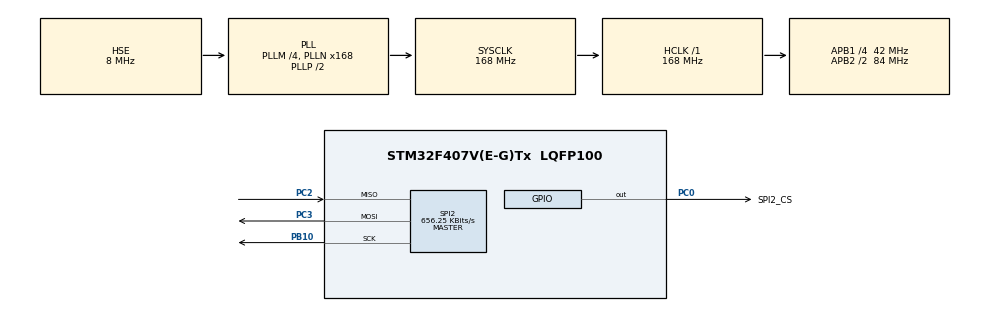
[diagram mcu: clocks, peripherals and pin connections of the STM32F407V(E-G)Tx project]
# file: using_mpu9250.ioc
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Mcu.Family=STM32F4
Mcu.Name=STM32F407V(E-G)Tx
Mcu.Package=LQFP100
NVIC.PriorityGroup=NVIC_PRIORITYGROUP_0
NVIC.TIM1_BRK_TIM9_IRQn=true\:0\:0\:false\:false\:true\:true\:true\:true
PA13.Mode=Serial_Wire
PA13.Signal=SYS_JTMS-SWDIO
PA14.Mode=Serial_Wire
PA14.Signal=SYS_JTCK-SWCLK
PB10.Mode=Full_Duplex_Master
PB10.Signal=SPI2_SCK
PB3.Signal=SYS_JTDO-SWO
PC0.GPIO_Label=SPI2_CS
PC0.PinState=GPIO_PIN_SET
PC0.Signal=GPIO_Output
PC2.Mode=Full_Duplex_Master
PC2.Signal=SPI2_MISO
PC3.Mode=Full_Duplex_Master
PC3.Signal=SPI2_MOSI
PH0-OSC_IN.Mode=HSE-External-Oscillator
PH0-OSC_IN.Signal=RCC_OSC_IN
PH1-OSC_OUT.Mode=HSE-External-Oscillator
PH1-OSC_OUT.Signal=RCC_OSC_OUT
ProjectManager.HeapSize=0x200
ProjectManager.StackSize=0x400
ProjectManager.TargetToolchain=STM32CubeIDE
RCC.48MHZClocksFreq_Value=48000000
RCC.AHBFreq_Value=168000000
RCC.APB1CLKDivider=RCC_HCLK_DIV4
RCC.APB1Freq_Value=42000000
RCC.APB1TimFreq_Value=84000000
RCC.APB2CLKDivider=RCC_HCLK_DIV2
RCC.APB2Freq_Value=84000000
RCC.APB2TimFreq_Value=168000000
RCC.CortexFreq_Value=168000000
RCC.HCLKFreq_Value=168000000
RCC.HSE_VALUE=8000000
RCC.HSI_VALUE=16000000
RCC.LSE_VALUE=32768
RCC.PLLM=4
RCC.PLLN=168
RCC.PLLQ=7
RCC.PLLSourceVirtual=RCC_PLLSOURCE_HSE
RCC.SYSCLKFreq_VALUE=168000000
RCC.SYSCLKSource=RCC_SYSCLKSOURCE_PLLCLK
RCC.VCOOutputFreq_Value=336000000
SPI2.BaudRatePrescaler=SPI_BAUDRATEPRESCALER_64
SPI2.CLKPhase=SPI_PHASE_2EDGE
SPI2.CLKPolarity=SPI_POLARITY_HIGH
SPI2.CalculateBaudRate=656.25 KBits/s
SPI2.Direction=SPI_DIRECTION_2LINES
SPI2.Mode=SPI_MODE_MASTER
SPI2.VirtualType=VM_MASTER
STMicroelectronics.X-CUBE-ALGOBUILD.1.3.0.LibraryCcDSPOoLibraryJjDSPOoLibrary=true
VP_STMicroelectronics.X-CUBE-ALGOBUILD_VS_DSPOoLibraryJjLibrary_1.3.0_1.3.0.Mode=DSPOoLibraryJjLibrary
VP_TIM9_VS_ClockSourceINT.Mode=Internal
board=STM32F407G-DISC1

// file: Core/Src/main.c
/* USER CODE BEGIN Header */
/**
  ******************************************************************************
  * @file           : main.c
  * @brief          : Main program body
  ******************************************************************************
  * @attention
  *
  * Copyright (c) 2024 STMicroelectronics.
  * All rights reserved.
  *
  * This software is licensed under terms that can be found in the LICENSE file
  * in the root directory of this software component.
  * If no LICENSE file comes with this software, it is provided AS-IS.
  *
  ******************************************************************************
  */
/* USER CODE END Header */
#include "main.h"
#include "spi.h"
#include "tim.h"
#include "gpio.h"

/* USER CODE BEGIN Includes */
#include "MPU9250.h"
#include "stdio.h"
#include "arm_math.h"
/* USER CODE END Includes */

void SystemClock_Config(void);
/* USER CODE BEGIN PFP */
void mpu_callback(void);
/* USER CODE END PFP */

/* USER CODE BEGIN 0 */
MPU9250_t mpu={0};
float roll = 0; float pitch = 0; float yaw = 0;
int mpu_flag=0;
/* USER CODE END 0 */

int main(void)
{
  /* USER CODE BEGIN 1 */
	mpu.settings.gFullScaleRange = GFSR_500DPS;
	mpu.settings.aFullScaleRange = AFSR_4G;
	mpu.settings.CS_PIN = GPIO_PIN_0;
	mpu.settings.CS_PORT = GPIOC;
	mpu.attitude.tau = 0.98;
	mpu.attitude.dt = 0.010;
  /* USER CODE END 1 */

  /* MCU Configuration--------------------------------------------------------*/

  /* Reset of all peripherals, Initializes the Flash interface and the Systick. */
  HAL_Init();

  /* Configure the system clock */
  SystemClock_Config();

  /* Initialize all configured peripherals */
  MX_GPIO_Init();
  MX_SPI2_Init();
  MX_TIM9_Init();
  /* USER CODE BEGIN 2 */
  if(MPU_begin(&hspi2, &mpu) != 1) { while(1); }
  MPU_calibrateGyro(&hspi2, &mpu, 1000);
  /* USER CODE END 2 */

  /* Infinite loop */
  /* USER CODE BEGIN WHILE */
  while (1)
  {
	 if(mpu_flag) { mpu_callback(); mpu_flag=0; }
	  //HAL_Delay(10);
    /* USER CODE END WHILE */

  }
}

void SystemClock_Config(void)
{
  RCC_OscInitTypeDef RCC_OscInitStruct = {0};
  RCC_ClkInitTypeDef RCC_ClkInitStruct = {0};

  /** Configure the main internal regulator output voltage
  */
  __HAL_RCC_PWR_CLK_ENABLE();
  __HAL_PWR_VOLTAGESCALING_CONFIG(PWR_REGULATOR_VOLTAGE_SCALE1);

  /** Initializes the RCC Oscillators according to the specified parameters
  * in the RCC_OscInitTypeDef structure.
  */
  RCC_OscInitStruct.OscillatorType = RCC_OSCILLATORTYPE_HSE;
  RCC_OscInitStruct.HSEState = RCC_HSE_ON;
  RCC_OscInitStruct.PLL.PLLState = RCC_PLL_ON;
  RCC_OscInitStruct.PLL.PLLSource = RCC_PLLSOURCE_HSE;
  RCC_OscInitStruct.PLL.PLLM = 4;
  RCC_OscInitStruct.PLL.PLLN = 168;
  RCC_OscInitStruct.PLL.PLLP = RCC_PLLP_DIV2;
  RCC_OscInitStruct.PLL.PLLQ = 7;
  if (HAL_RCC_OscConfig(&RCC_OscInitStruct) != HAL_OK)
  {
    Error_Handler();
  }

  /** Initializes the CPU, AHB and APB buses clocks
  */
  RCC_ClkInitStruct.ClockType = RCC_CLOCKTYPE_HCLK|RCC_CLOCKTYPE_SYSCLK
                              |RCC_CLOCKTYPE_PCLK1|RCC_CLOCKTYPE_PCLK2;
  RCC_ClkInitStruct.SYSCLKSource = RCC_SYSCLKSOURCE_PLLCLK;
  RCC_ClkInitStruct.AHBCLKDivider = RCC_SYSCLK_DIV1;
  RCC_ClkInitStruct.APB1CLKDivider = RCC_HCLK_DIV4;
  RCC_ClkInitStruct.APB2CLKDivider = RCC_HCLK_DIV2;

  if (HAL_RCC_ClockConfig(&RCC_ClkInitStruct, FLASH_LATENCY_5) != HAL_OK)
  {
    Error_Handler();
  }
}

/* USER CODE BEGIN 4 */
int _write(int file, char *ptr, int len)
{
	int DataIdx;
	for(DataIdx = 0; DataIdx < len; DataIdx++)
		ITM_SendChar(*ptr++);
	return len;
}
void mpu_callback(void)
{
	MPU_calcAttitude(&hspi2, &mpu);
	roll = mpu.attitude.r;
	pitch = mpu.attitude.p;
	yaw = mpu.attitude.y;
	//print_accelero(&mpu);
	//print_gyro(&mpu);
	//print_magneto(&mpu);
}
/* USER CODE END 4 */

void Error_Handler(void)
{
  __disable_irq();
  while (1)
  {
  }
}
